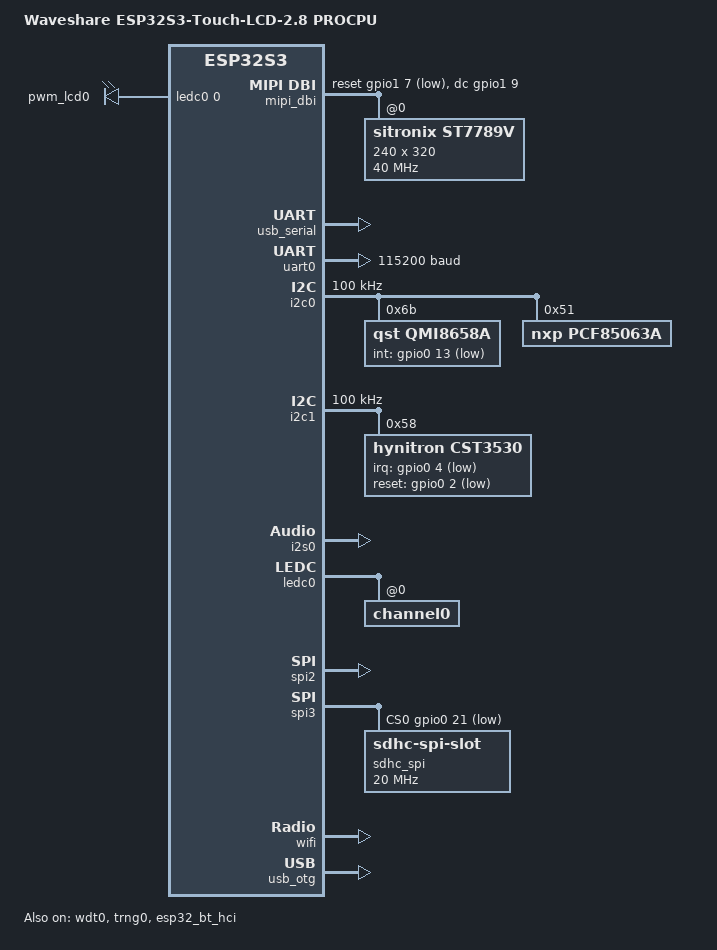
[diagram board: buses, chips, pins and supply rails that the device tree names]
/*
 * Copyright (c) 2024 Dylan Rowe <dylanthomasrowe@gmail.com>
 *
 * SPDX-License-Identifier: Apache-2.0
 */
/dts-v1/;

#include <espressif/esp32s3/esp32s3_wroom_n16r8.dtsi>
#include <zephyr/dt-bindings/input/input-event-codes.h>
#include <zephyr/dt-bindings/mipi_dbi/mipi_dbi.h>
#include <zephyr/dt-bindings/display/panel.h>
#include <zephyr/dt-bindings/pwm/pwm.h>
#include <espressif/partitions_0x0_amp.dtsi>
#include "esp32s3_touch_lcd_2_8-pinctrl.dtsi"

/ {
	model = "Waveshare ESP32S3-Touch-LCD-2.8 PROCPU";
	compatible = "waveshare,esp32s3-touch-lcd-2-8", "espressif,esp32s3";

	aliases {
		i2c-0 = &i2c0;
		pwm-0 = &ledc0;
		pwm-lcd0 = &pwm_lcd0;
		watchdog0 = &wdt0;
		uart-0 = &uart0;
	};

	chosen {
		zephyr,sram = &sram1;
		zephyr,console = &usb_serial;
		zephyr,shell-uart = &usb_serial;
		zephyr,flash = &flash0;
		zephyr,code-partition = &slot0_partition;
		zephyr,bt-hci = &esp32_bt_hci;
		zephyr,display = &st7789v;
	};

	pwmleds {
		compatible = "pwm-leds";

		pwm_lcd0: pwm_lcd0 {
			pwms = <&ledc0 0 PWM_HZ(250) PWM_POLARITY_NORMAL>;
		};
	};

	mipi_dbi {
		compatible = "zephyr,mipi-dbi-spi";
		dc-gpios = <&gpio1 9 GPIO_ACTIVE_HIGH>;
		reset-gpios = <&gpio1 7 GPIO_ACTIVE_LOW>;
		spi-dev = <&spi2>;
		write-only;
		#address-cells = <1>;
		#size-cells = <0>;

		st7789v: st7789v@0 {
			compatible = "sitronix,st7789v";
			reg = <0>;
			mipi-max-frequency = <40000000>;
			mipi-mode = "MIPI_DBI_MODE_SPI_4WIRE";
			width = <240>;
			height = <320>;
			x-offset = <0>;
			y-offset = <0>;
			vcom = <0x2b>;
			gctrl = <0x35>;
			vrhs = <0x0f>;
			vdvs = <0x20>;
			mdac = <0x00>;
			gamma = <0x01>;
			pixel-format = <PANEL_PIXEL_FORMAT_RGB_565>;
			lcm = <0x2c>;
			porch-param = [0c 0c 00 33 33];
			cmd2en-param = [5a 69 02 01];
			pwctrl1-param = [a4 a1];
			pvgam-param = [d0 00 02 07 0a 28 32 44 42 06 0e 12 14 17];
			nvgam-param = [d0 00 02 07 0a 28 31 54 47 0e 1c 17 1b 1e];
			ram-param = [00 e0];
			rgb-param = [00 00 00];
		};
	};
};

&usb_serial {
	status = "okay";
};

&uart0 {
	status = "okay";
	current-speed = <115200>;
	pinctrl-0 = <&uart0_default>;
	pinctrl-names = "default";
};

&i2c0 {
	clock-frequency = <I2C_BITRATE_STANDARD>;
	pinctrl-0 = <&i2c0_default>;
	pinctrl-names = "default";
	status = "okay";

	qmi8658a: qmi8658a@6b {
		compatible = "qst,qmi8658a";
		reg = <0x6b>;
		int-gpios = <&gpio0 13 GPIO_ACTIVE_LOW>;
	};

	pcf85063a: pcf85063a@51 {
		compatible = "nxp,pcf85063a";
		reg = <0x51>;
	};
};

&i2c1 {
	clock-frequency = <I2C_BITRATE_STANDARD>;
	pinctrl-0 = <&i2c1_default>;
	pinctrl-names = "default";
	status = "okay";

	cst3530: cst3530@58 {
		compatible = "hynitron,cst3530";
		reg = <0x58>;
		irq-gpios = <&gpio0 4 (GPIO_ACTIVE_LOW | GPIO_PULL_UP)>;
		reset-gpios = <&gpio0 2 GPIO_ACTIVE_LOW>;
	};
};

&i2s0 {
	pinctrl-0 = <&i2s0_default>;
	pinctrl-names = "default";
	status = "okay";
};

&ledc0 {
	status = "okay";
	pinctrl-0 = <&ledc0_default>;
	pinctrl-names = "default";
	#address-cells = <1>;
	#size-cells = <0>;

	channel0@0 {
		reg = <0x0>;
		timer = <0>;
	};
};

&spi2 {
	#address-cells = <1>;
	#size-cells = <0>;
	status = "okay";
	pinctrl-0 = <&spim2_default>;
	pinctrl-names = "default";
};

&spi3 {
	#address-cells = <1>;
	#size-cells = <0>;
	status = "okay";
	pinctrl-0 = <&spim3_default>;
	pinctrl-names = "default";
	cs-gpios = <&gpio0 21 GPIO_ACTIVE_LOW>;

	sdhc_spi: sdhc@0 {
		compatible = "zephyr,sdhc-spi-slot";
		reg = <0>;
		status = "okay";
		spi-max-frequency = <20000000>;
		mmc {
			compatible = "zephyr,sdmmc-disk";
			disk-name = "SD";
			status = "okay";
		};
	};
};

&wdt0 {
	status = "okay";
};

&trng0 {
	status = "okay";
};

&esp32_bt_hci {
	status = "okay";
};

&wifi {
	status = "okay";
};

zephyr_udc0: &usb_otg {
	status = "okay";
};

zephyr_uhc0: &usb_otg {
	status = "okay";
};
